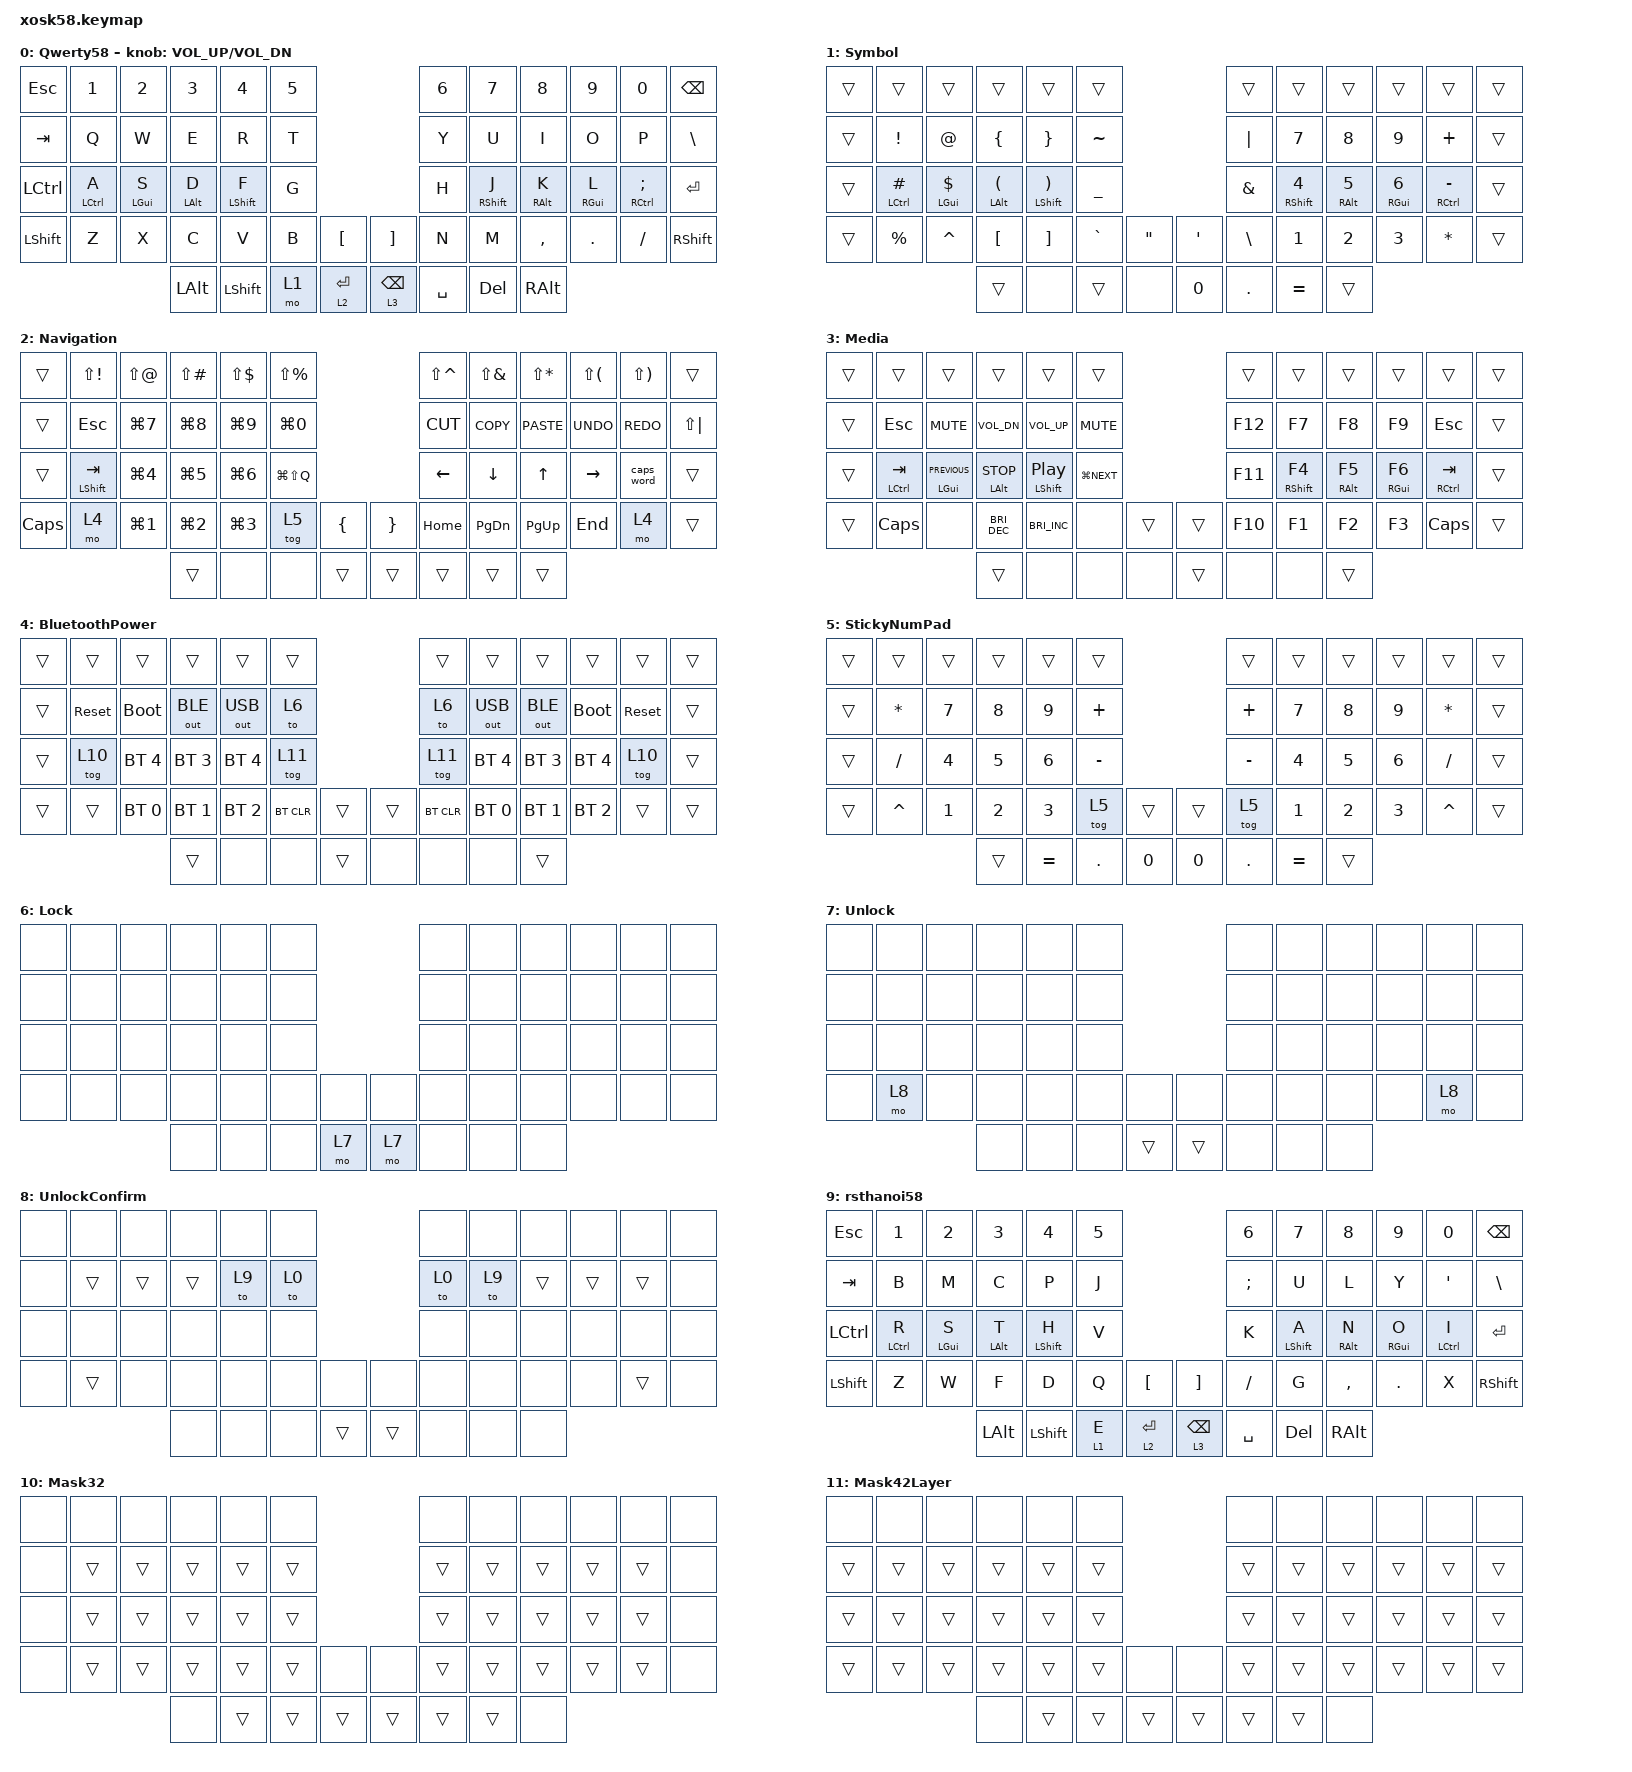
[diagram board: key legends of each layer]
/*
 * Copyright (c) 2020 The ZMK Contributors
 *
 * SPDX-License-Identifier: MIT
 */

#include <behaviors.dtsi>
#include <dt-bindings/zmk/bt.h>
#include <dt-bindings/zmk/keys.h>

/ {
    keymap {
        compatible = "zmk,keymap";

        Qwerty58Layer {
            // ------------------------------------------------------------------------------------------------------------
            // |  ESC  |  1  |  2  |  3   |  4   |  5   |                   |  6   |  7    |  8    |  9   |   0   |   `   |
            // |  TAB  |  Q  |  W  |  E   |  R   |  T   |                   |  Y   |  U    |  I    |  O   |   P   |   -   |
            // |  CTRL |  A  |  S  |  D   |  F   |  G   |                   |  H   |  J    |  K    |  L   |   ;   |   '   |
            // | SHIFT |  Z  |  X  |  C   |  V   |  B   |   "["  |  |  "]"  |  N   |  M    |  ,    |  .   |   /   | SHIFT |
            //                     | ALT  | GUI  | LOWER|  SPACE |  | ENTER | RAISE| BSPC  | GUI   |

            bindings = <
&kp ESC    &kp N1       &kp N2          &kp N3          &kp N4            &kp N5                                &kp N6     &kp N7             &kp N8           &kp N9           &kp N0               &kp BACKSPACE
&kp TAB    &kp Q        &kp W           &kp E           &kp R             &kp T                                 &kp Y      &kp U              &kp I            &kp O            &kp P                &kp BACKSLASH
&kp LCTRL  &mt LCTRL A  &mt LEFT_GUI S  &mt LEFT_ALT D  &mt LEFT_SHIFT F  &kp G                                 &kp H      &mt RIGHT_SHIFT J  &mt RIGHT_ALT K  &mt RIGHT_GUI L  &mt RCTRL SEMICOLON  &kp ENTER
&kp LSHFT  &kp Z        &kp X           &kp C           &kp V             &kp B   &kp LBKT     &kp RBKT         &kp N      &kp M              &kp COMMA        &kp DOT          &kp FSLH             &kp RIGHT_SHIFT
                                        &kp LALT        &kp LEFT_SHIFT    &mo 1   &lt 2 ENTER  &lt 3 BACKSPACE  &kp SPACE  &kp DEL            &kp RALT
            >;

            sensor-bindings = <&inc_dec_kp C_VOL_UP C_VOL_DN>;
            label = "Qwerty58";
        };

        SymbolLayer {
            bindings = <
&trans  &trans           &trans               &trans                         &trans                            &trans                                      &trans         &trans                    &trans            &trans                  &trans           &trans
&trans  &kp EXCLAMATION  &kp AT               &kp LEFT_BRACE                 &kp RIGHT_BRACE                   &kp TILDE                                   &kp PIPE       &kp N7                    &kp N8            &kp N9                  &kp PLUS         &trans
&trans  &mt LCTRL HASH   &mt LEFT_GUI DOLLAR  &mt LEFT_ALT LEFT_PARENTHESIS  &mt LEFT_SHIFT RIGHT_PARENTHESIS  &kp UNDERSCORE                              &kp AMPERSAND  &mt RIGHT_SHIFT NUMBER_4  &mt RIGHT_ALT N5  &mt RIGHT_GUI NUMBER_6  &mt RCTRL MINUS  &trans
&trans  &kp PERCENT      &kp CARET            &kp LEFT_BRACKET               &kp RIGHT_BRACKET                 &kp GRAVE       &kp DOUBLE_QUOTES  &kp SQT  &kp BACKSLASH  &kp NUMBER_1              &kp NUMBER_2      &kp NUMBER_3            &kp STAR         &trans
                                              &trans                         &none                             &trans          &none              &kp N0   &kp DOT        &kp EQUAL                 &trans
            >;

            label = "Symbol";
        };

        NavigationLayer {
            bindings = <
&trans    &kp LS(EXCL)        &kp LS(AT)        &kp LS(POUND)     &kp LS(DLLR)      &kp LS(PRCNT)                                   &kp LS(CARET)   &kp LS(AMPS)    &kp LS(STAR)  &kp LS(LPAR)     &kp LS(RPAR)  &trans
&trans    &kp ESCAPE          &kp LG(N7)        &kp LG(N8)        &kp LG(N9)        &kp LG(N0)                                      &kp K_CUT       &kp K_COPY      &kp K_PASTE   &kp K_UNDO       &kp K_REDO    &kp LS(PIPE)
&trans    &mt LEFT_SHIFT TAB  &kp LG(NUMBER_4)  &kp LG(N5)        &kp LG(NUMBER_6)  &kp LG(LS(Q))                                   &kp LEFT_ARROW  &kp DOWN_ARROW  &kp UP_ARROW  &kp RIGHT_ARROW  &caps_word    &trans
&kp CAPS  &mo 4               &kp LG(NUMBER_1)  &kp LG(NUMBER_2)  &kp LG(NUMBER_3)  &tog 5         &kp LEFT_BRACE  &kp RIGHT_BRACE  &kp HOME        &kp PG_DN       &kp PG_UP     &kp END          &mo 4         &trans
                                                &trans            &none             &none          &trans          &trans           &trans          &trans          &trans
            >;

            label = "Navigation";
        };

        MediaLayer {
            bindings = <
&trans  &trans                &trans                   &trans                &trans                       &trans                          &trans   &trans              &trans            &trans            &trans                 &trans
&trans  &kp ESCAPE            &kp C_MUTE               &kp C_VOL_DN          &kp C_VOL_UP                 &kp C_MUTE                      &kp F12  &kp F7              &kp F8            &kp F9            &kp ESCAPE             &trans
&trans  &mt LEFT_CONTROL TAB  &mt LEFT_GUI C_PREVIOUS  &mt LEFT_ALT C_STOP   &mt LEFT_SHIFT C_PLAY_PAUSE  &kp LG(C_NEXT)                  &kp F11  &mt RIGHT_SHIFT F4  &mt RIGHT_ALT F5  &mt RIGHT_GUI F6  &mt RIGHT_CONTROL TAB  &trans
&trans  &kp CAPS              &none                    &kp C_BRIGHTNESS_DEC  &kp C_BRIGHTNESS_INC         &none           &trans  &trans  &kp F10  &kp F1              &kp F2            &kp F3            &kp CAPS               &trans
                                                       &trans                &none                        &none           &none   &trans  &none    &none               &trans
            >;

            label = "Media";
        };

        BluetoothPowerLayer {
            bindings = <
&trans  &trans      &trans        &trans        &trans        &trans                      &trans      &trans        &trans        &trans        &trans      &trans
&trans  &sys_reset  &bootloader   &out OUT_BLE  &out OUT_USB  &to 6                       &to 6       &out OUT_USB  &out OUT_BLE  &bootloader   &sys_reset  &trans
&trans  &tog 10     &bt BT_SEL 4  &bt BT_SEL 3  &bt BT_SEL 4  &tog 11                     &tog 11     &bt BT_SEL 4  &bt BT_SEL 3  &bt BT_SEL 4  &tog 10     &trans
&trans  &trans      &bt BT_SEL 0  &bt BT_SEL 1  &bt BT_SEL 2  &bt BT_CLR  &trans  &trans  &bt BT_CLR  &bt BT_SEL 0  &bt BT_SEL 1  &bt BT_SEL 2  &trans      &trans
                                  &trans        &none         &none       &trans  &none   &none       &none         &trans
            >;

            label = "BluetoothPower";
        };

        StickyNumPad {
            bindings = <
&trans  &trans        &trans  &trans  &trans     &trans                     &trans     &trans     &trans  &trans  &trans        &trans
&trans  &kp ASTERISK  &kp N7  &kp N8  &kp N9     &kp PLUS                   &kp PLUS   &kp N7     &kp N8  &kp N9  &kp ASTERISK  &trans
&trans  &kp SLASH     &kp N4  &kp N5  &kp N6     &kp MINUS                  &kp MINUS  &kp N4     &kp N5  &kp N6  &kp SLASH     &trans
&trans  &kp CARET     &kp N1  &kp N2  &kp N3     &tog 5     &trans  &trans  &tog 5     &kp N1     &kp N2  &kp N3  &kp CARET     &trans
                              &trans  &kp EQUAL  &kp DOT    &kp N0  &kp N0  &kp DOT    &kp EQUAL  &trans
            >;
        };

        LockLayer {
            bindings = <
&none  &none  &none  &none  &none  &none                &none  &none  &none  &none  &none  &none
&none  &none  &none  &none  &none  &none                &none  &none  &none  &none  &none  &none
&none  &none  &none  &none  &none  &none                &none  &none  &none  &none  &none  &none
&none  &none  &none  &none  &none  &none  &none  &none  &none  &none  &none  &none  &none  &none
                     &none  &none  &none  &mo 7  &mo 7  &none  &none  &none
            >;

            label = "Lock";
        };

        UnlockLayer {
            bindings = <
&none  &none  &none  &none  &none  &none                  &none  &none  &none  &none  &none  &none
&none  &none  &none  &none  &none  &none                  &none  &none  &none  &none  &none  &none
&none  &none  &none  &none  &none  &none                  &none  &none  &none  &none  &none  &none
&none  &mo 8  &none  &none  &none  &none  &none   &none   &none  &none  &none  &none  &mo 8  &none
                     &none  &none  &none  &trans  &trans  &none  &none  &none
            >;

            label = "Unlock";
        };

        UnlockConfirmLayer {
            bindings = <
&none  &none   &none   &none   &none  &none                  &none  &none  &none   &none   &none   &none
&none  &trans  &trans  &trans  &to 9  &to 0                  &to 0  &to 9  &trans  &trans  &trans  &none
&none  &none   &none   &none   &none  &none                  &none  &none  &none   &none   &none   &none
&none  &trans  &none   &none   &none  &none  &none   &none   &none  &none  &none   &none   &trans  &none
                       &none   &none  &none  &trans  &trans  &none  &none  &none
            >;

            label = "UnlockConfirm";
        };

        rsthanoi58Layer {
            bindings = <
&kp ESCAPE        &kp N1              &kp N2          &kp N3          &kp N4            &kp N5                                 &kp N6         &kp N7            &kp N8           &kp N9           &kp N0       &kp BSPC
&kp TAB           &kp B               &kp M           &kp C           &kp P             &kp J                                  &kp SEMICOLON  &kp U             &kp L            &kp Y            &kp SQT      &kp BSLH
&kp LEFT_CONTROL  &mt LEFT_CONTROL R  &mt LEFT_GUI S  &mt LEFT_ALT T  &mt LEFT_SHIFT H  &kp V                                  &kp K          &mt LEFT_SHIFT A  &mt RIGHT_ALT N  &mt RIGHT_GUI O  &mt LCTRL I  &kp ENTER
&kp LEFT_SHIFT    &kp Z               &kp W           &kp F           &kp D             &kp Q    &kp LBKT     &kp RBKT         &kp SLASH      &kp G             &kp COMMA        &kp PERIOD       &kp X        &kp RIGHT_SHIFT
                                                      &kp LEFT_ALT    &kp LEFT_SHIFT    &lt 1 E  &lt 2 ENTER  &lt 3 BACKSPACE  &kp SPACE      &kp DEL           &kp RIGHT_ALT
            >;

            label = "rsthanoi58";
        };

        Mask36Layer {
            bindings = <
&none  &none   &none   &none   &none   &none                   &none   &none   &none   &none   &none   &none
&none  &trans  &trans  &trans  &trans  &trans                  &trans  &trans  &trans  &trans  &trans  &none
&none  &trans  &trans  &trans  &trans  &trans                  &trans  &trans  &trans  &trans  &trans  &none
&none  &trans  &trans  &trans  &trans  &trans  &none   &none   &trans  &trans  &trans  &trans  &trans  &none
                       &none   &trans  &trans  &trans  &trans  &trans  &trans  &none
            >;

            label = "Mask32";
        };

        Mask42Layer {
            bindings = <
&none   &none   &none   &none   &none   &none                   &none   &none   &none   &none   &none   &none
&trans  &trans  &trans  &trans  &trans  &trans                  &trans  &trans  &trans  &trans  &trans  &trans
&trans  &trans  &trans  &trans  &trans  &trans                  &trans  &trans  &trans  &trans  &trans  &trans
&trans  &trans  &trans  &trans  &trans  &trans  &none   &none   &trans  &trans  &trans  &trans  &trans  &trans
                        &none   &trans  &trans  &trans  &trans  &trans  &trans  &none
            >;
        };
    };
};
